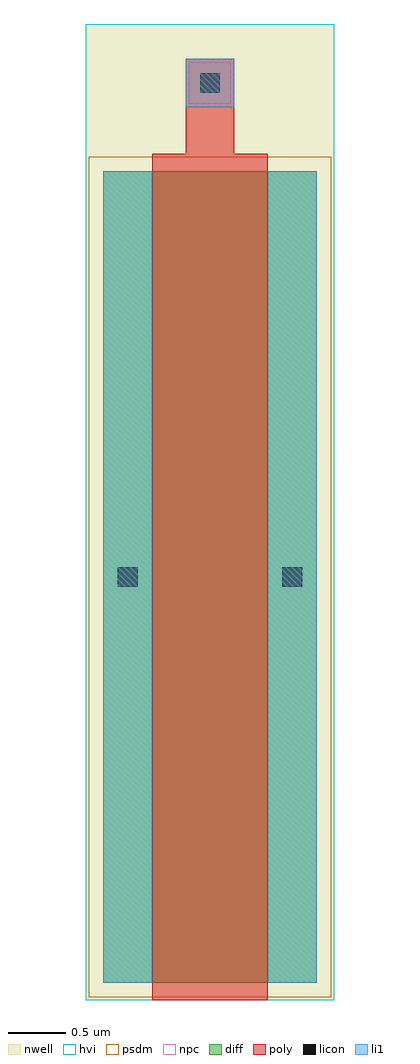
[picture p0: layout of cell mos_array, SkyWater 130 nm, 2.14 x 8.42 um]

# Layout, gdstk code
import gdstk
lib = gdstk.Library(unit=1e-6, precision=1e-09)
def R(c, l, rs):  # rectangles x0, y0, x1, y1
    for r in rs: c.add(gdstk.rectangle(r[:2], r[2:], *l))
nwell = (64, 20)
diff = (65, 20)
poly = (66, 20)
licon = (66, 44)
li1 = (67, 20)
hvi = (75, 20)
psdm = (94, 20)
npc = (95, 20)

mos_array = lib.new_cell('mos_array')
R(mos_array, nwell, [(-0.15,-0.15,1.99,8.27)])
R(mos_array, diff, [(0,0,1.84,7)])
R(mos_array, poly, [(0.42,-0.15,1.42,7), (0.42,7,1.42,7.15), (0.42,7,1.42,7.15), (0.71,7.15,1.13,7.97)])
R(mos_array, licon, [(0.125,3.415,0.295,3.585), (1.545,3.415,1.715,3.585), (0.835,7.675,1.005,7.845)])
R(mos_array, li1, [(0,0,0.42,7), (1.42,0,1.84,7), (0.71,7.55,1.13,7.97)])
R(mos_array, hvi, [(-0.15,-0.15,1.99,8.27)])
R(mos_array, psdm, [(-0.125,-0.125,1.965,7.125)])
R(mos_array, npc, [(0.74,7.58,1.1,7.94)])

lib.write_gds('mos_array.gds')
